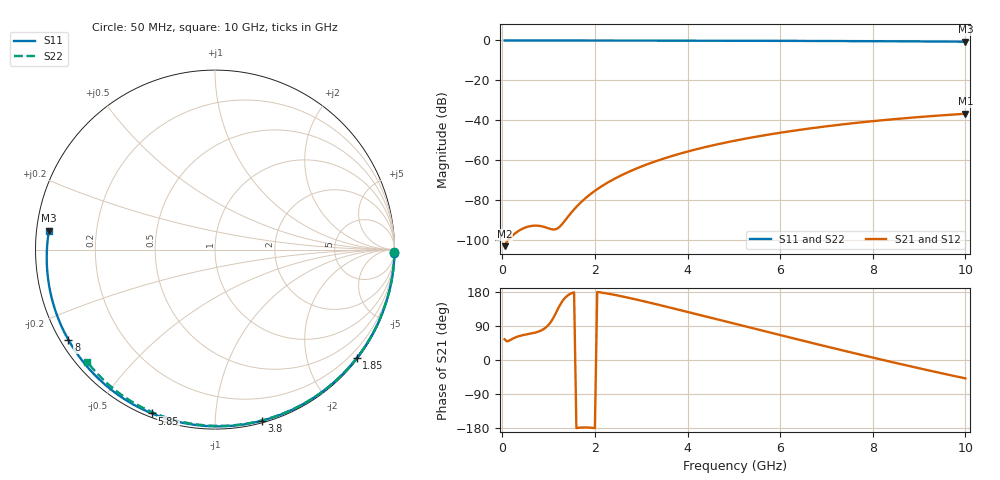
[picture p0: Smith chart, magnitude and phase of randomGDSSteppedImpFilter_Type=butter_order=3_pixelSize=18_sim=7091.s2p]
! freq	dB(S11)	phase(S11)	dB(S12)	phase(S12)
!  dB(S21)	phase(S21)	dB(S22)	phase(S22)
!S-par simulation data
#  GHz  S  DB  R 50
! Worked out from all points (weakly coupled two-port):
!   200 points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, 50 MHz to 10 GHz, reference 50 ohm
!   highest |S21| = -36.80 dB at 10 GHz (marker M1); lowest = -103.3 dB at 50 MHz (marker M2)
!   lowest |S11| = -0.6 dB at 10 GHz (marker M3), VSWR 28.09, Z = 1.79 + j2.84 ohm
!   |S11| at or under -10 dB: nowhere
!   |S22| runs from -0.5 to 0.0 dB; largest |S21 - S12| = 0
!   S11 on the Smith chart (normalised r, x): 50 MHz: open; 1.85 GHz: 0.03, -2.95; 3.8 GHz: 0.02, -1.31; 5.85 GHz: 0.02, -0.69; 8 GHz: 0.02, -0.28; 10 GHz: 0.04, +0.06
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0.05  -0.00 -1.0  -103.28 54.6  -103.28 54.6  -0.00 -0.8
0.45  -0.01 -9.3  -94.36 65.8  -94.36 65.8  -0.01 -7.2
0.85  -0.02 -17.4  -93.29 78.6  -93.29 78.6  -0.02 -13.6
1.3  -0.03 -26.5  -92.00 155.7  -92.00 155.7  -0.03 -20.7
1.75  -0.04 -35.4  -80.13 -178.0  -80.13 -178.0  -0.04 -27.7
1.85  -0.05 -37.4  -78.14 -178.2  -78.14 -178.2  -0.04 -29.2
2.15  -0.05 -43.3  -73.14 177.8  -73.14 177.8  -0.04 -33.8
2.5  -0.06 -50.1  -68.52 170.1  -68.52 170.1  -0.05 -39.2
2.9  -0.07 -57.8  -64.26 159.4  -64.26 159.4  -0.06 -45.2
3.4  -0.09 -67.2  -59.95 145.0  -59.95 145.0  -0.07 -52.6
3.8  -0.10 -74.6  -57.08 132.9  -57.08 132.9  -0.08 -58.5
4.4  -0.12 -85.5  -53.44 114.6  -53.44 114.6  -0.10 -67.0
5.05  -0.15 -97.1  -50.19 94.6  -50.19 94.6  -0.12 -76.1
5.85  -0.19 -111.0  -46.88 70.2  -46.88 70.2  -0.15 -86.9
6.7  -0.25 -125.7  -44.00 44.5  -44.00 44.5  -0.19 -98.0
7.35  -0.30 -136.9  -42.13 25.3  -42.13 25.3  -0.23 -106.2
8  -0.36 -148.3  -40.52 6.4  -40.52 6.4  -0.28 -114.3
8.35  -0.40 -154.6  -39.74 -3.6  -39.74 -3.6  -0.30 -118.7
8.8  -0.45 -162.9  -38.83 -16.3  -38.83 -16.3  -0.34 -124.2
9.2  -0.50 -170.5  -38.09 -27.3  -38.09 -27.3  -0.38 -129.0
9.6  -0.56 -178.3  -37.41 -38.0  -37.41 -38.0  -0.42 -133.8
10  -0.62 173.5  -36.80 -48.5  -36.80 -48.5  -0.47 -138.7
